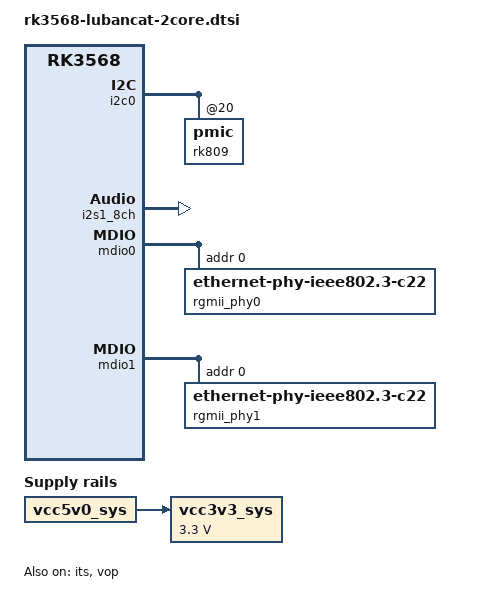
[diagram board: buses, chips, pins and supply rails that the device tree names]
// SPDX-License-Identifier: (GPL-2.0+ OR MIT)
 /dts-v1/;

#include <dt-bindings/gpio/gpio.h>
#include <dt-bindings/pwm/pwm.h>
#include <dt-bindings/pinctrl/rockchip.h>
#include <dt-bindings/input/rk-input.h>
#include <dt-bindings/display/drm_mipi_dsi.h>
#include <dt-bindings/display/rockchip_vop.h>
#include <dt-bindings/sensor-dev.h>
#include <dt-bindings/phy/jlsemi-dt-phy.h>
#include "rk3568.dtsi"
#include "rk3568-lubancat.dtsi"

/ {
	compatible = "rockchip,lubancat-2core", "rockchip,rk3568";

	vcc3v3_sys: vcc3v3-sys {
		compatible = "regulator-fixed";
		regulator-name = "vcc3v3_sys";
		regulator-always-on;
		regulator-boot-on;
		regulator-min-microvolt = <3300000>;
		regulator-max-microvolt = <3300000>;
		vin-supply = <&vcc5v0_sys>;
	};

	rk809_sound: rk809-sound {
		status = "okay";
		compatible = "simple-audio-card";
		simple-audio-card,format = "i2s";
		simple-audio-card,name = "rockchip,rk809-codec";
		simple-audio-card,mclk-fs = <256>;
		simple-audio-card,widgets =
						"Microphone", "Mic Jack",
						"Headphone", "Headphone Jack";
			simple-audio-card,routing =
						"Mic Jack", "MICBIAS1",
						"IN1P", "Mic Jack",
						"Headphone Jack", "HPOL",
						"Headphone Jack", "HPOR";
		simple-audio-card,cpu {
			sound-dai = <&i2s1_8ch>;
		};
		simple-audio-card,codec {
			sound-dai = <&rk809_codec>;
		};
	};
};

&i2c0 {
	status = "okay";
	rk809: pmic@20 {
		rk809_codec: codec {
			//mic-in-differential;
			capture-volume = <0>;
			status = "okay";
		};
	};
};

&i2s1_8ch {
	status = "okay";
	rockchip,clk-trcm = <1>;
	pinctrl-names = "default";
	pinctrl-0 = <&i2s1m0_sclktx
			 &i2s1m0_lrcktx
			 &i2s1m0_sdi0
			 &i2s1m0_sdo0>;
};

&its {
	status = "okay";
};

&pmu_io_domains {
	status = "okay";
	pmuio2-supply = <&vcc3v3_pmu>;
	vccio1-supply = <&vccio_acodec>;
	vccio3-supply = <&vccio_sd>;
	vccio4-supply = <&vcc_1v8>;
	vccio5-supply = <&vcc_3v3>;
	vccio6-supply = <&vcc_1v8>;
	vccio7-supply = <&vcc_3v3>;
};

&vad {
	rockchip,audio-src = <&i2s1_8ch>;
	rockchip,buffer-time-ms = <128>;
	rockchip,det-channel = <0>;
	rockchip,mode = <0>;
};

&vop {
	status = "okay";
	assigned-clocks = <&cru DCLK_VOP0>, <&cru DCLK_VOP1>;
	assigned-clock-parents = <&pmucru PLL_HPLL>, <&cru PLL_VPLL>;
};

&vop_mmu {
	status = "okay";
};

&vp0 {
	rockchip,plane-mask = <(1 << ROCKCHIP_VOP2_CLUSTER0 | 1 << ROCKCHIP_VOP2_ESMART0 | 1 << ROCKCHIP_VOP2_SMART0)>;
	rockchip,primary-plane = <ROCKCHIP_VOP2_SMART0>;
};

&vp1 {
	rockchip,plane-mask = <(1 << ROCKCHIP_VOP2_CLUSTER1 | 1 << ROCKCHIP_VOP2_ESMART1 | 1 << ROCKCHIP_VOP2_SMART1)>;
	rockchip,primary-plane = <ROCKCHIP_VOP2_SMART1>;
};

&sfc{
	pinctrl-names = "default";
	pinctrl-0 = <&fspi_pins>;
	assigned-clock-rates = <50000000>;
	status = "disabled";
};

&sdmmc0 {
	status = "disabled";
};

/* USB OTG/USB Host_1 USB 2.0 Comb */
&usb2phy0 {
	status = "disabled";
};

&u2phy0_host {
	status = "disabled";
};

&u2phy0_otg {
	status = "disabled";
};

&usb_host0_ehci {
	status = "disabled";
};

&usb_host0_ohci {
	status = "disabled";
};

/* USB Host_2/USB Host_3 USB 2.0 Comb */
&usb2phy1 {
	status = "disabled";
};

&u2phy1_otg {
	status = "disabled";
};

&u2phy1_host {
	status = "disabled";
};

&usb_host1_ehci {
	status = "disabled";
};

&usb_host1_ohci {
	status = "disabled";
};

/* MULTI_PHY0 For SATA0, USB3.0 OTG0 */
&combphy0_us {
	status = "disabled";
};

&usbdrd30 {
	status = "disabled";
};

/* MULTI_PHY0 For SATA0, USB3.0 OTG0 Only USB2.0 */
&usbdrd_dwc3 {
	phys = <&u2phy0_otg>;
	phy-names = "usb2-phy";
	extcon = <&usb2phy0>;
	maximum-speed = "high-speed";
	snps,dis_u2_susphy_quirk;
	snps,usb2-lpm-disable;
	status = "disabled";
};

&sata0 {
	status = "disabled";
};

/* MULTI_PHY1 For SATA1, USB3.0 HOST1, QSGMII_M0 */
&combphy1_usq {
	status = "disabled";
};

&usbhost30 {
	status = "disabled";
};

&usbhost_dwc3 {
	status = "disabled";
};

/* MULTI_PHY2 For SATA2, PCIe2.0, QSGMII_M1 */
&combphy2_psq {
	status = "disabled";
};

&sata2 {
	status = "disabled";
};

/* PCIe3.0x2 Comb */
&pcie30phy {
	status = "disabled";
};

&gmac0 {
	phy-mode = "rgmii";
	clock_in_out = "output";

	snps,reset-gpio = <&gpio1 RK_PA1 GPIO_ACTIVE_LOW>;
	snps,reset-active-low;
	/* Reset time is 20ms, 100ms for rtl8211f */
	snps,reset-delays-us = <0 75000 100000>;

	assigned-clocks = <&cru SCLK_GMAC0_RX_TX>, <&cru SCLK_GMAC0>;
	assigned-clock-parents = <&cru SCLK_GMAC0_RGMII_SPEED>, <&cru CLK_MAC0_2TOP>;
	assigned-clock-rates = <0>, <125000000>;

	pinctrl-names = "default";
	pinctrl-0 = <&gmac0_miim
			 &gmac0_tx_bus2
			 &gmac0_rx_bus2
			 &gmac0_rgmii_clk
			 &gmac0_rgmii_bus>;

	tx_delay = <0x1c>;
	rx_delay = <0x0d>;

	phy-handle = <&rgmii_phy0>;
	status = "disabled";
};

&mdio0 {
	rgmii_phy0: phy@0 {
		compatible = "ethernet-phy-ieee802.3-c22";
		reg = <0x0>;
		jl2xxx,led-enable = <(JL2XXX_LED_STATIC_OP_EN | JL1XXX_LED_MODE_EN)>;
		jl2xxx,led-mode = <(JL2XXX_LED1_LINK10  | \
				 JL2XXX_LED1_LINK100  | \
				 JL2XXX_LED1_LINK1000 | \
				 JL2XXX_LED2_LINK10   | \
				 JL2XXX_LED2_LINK100  | \
				 JL2XXX_LED2_LINK1000 | \
				 JL2XXX_LED2_ACTIVITY )>; //JL phy

		realtek,led-data = <0x6d60>;  //8211F phy
	};
};

&uart8 {
	status = "disabled";
};

&uart9 {
	status = "disabled"; //Default to use DTBO
	pinctrl-names = "default";
	pinctrl-0 = <&uart9m1_xfer>;
};

&sdmmc2 {
	status = "disabled";
};

&gmac1 {
	phy-mode = "rgmii";
	clock_in_out = "output";

	snps,reset-gpio = <&gpio0 RK_PC7 GPIO_ACTIVE_LOW>;
	snps,reset-active-low;
	/* Reset time is 20ms, 100ms for rtl8211f */
	snps,reset-delays-us = <0 75000 100000>;

	assigned-clocks = <&cru SCLK_GMAC1_RX_TX>, <&cru SCLK_GMAC1>;
	assigned-clock-parents = <&cru SCLK_GMAC1_RGMII_SPEED>, <&cru CLK_MAC1_2TOP>;
	assigned-clock-rates = <0>, <125000000>;

	pinctrl-names = "default";
	pinctrl-0 = <&gmac1m1_miim
			 &gmac1m1_tx_bus2
			 &gmac1m1_rx_bus2
			 &gmac1m1_rgmii_clk
			 &gmac1m1_rgmii_bus>;

	tx_delay = <0x20>;
	rx_delay = <0x02>;

	phy-handle = <&rgmii_phy1>;
	status = "disabled";
};

&mdio1 {
	rgmii_phy1: phy@0 {
		compatible = "ethernet-phy-ieee802.3-c22";
		reg = <0x0>;
		jl2xxx,led-enable = <(JL2XXX_LED_STATIC_OP_EN | JL1XXX_LED_MODE_EN)>;
		jl2xxx,led-mode = <(JL2XXX_LED1_LINK10  | \
				 JL2XXX_LED1_LINK100  | \
				 JL2XXX_LED1_LINK1000 | \
				 JL2XXX_LED2_LINK10   | \
				 JL2XXX_LED2_LINK100  | \
				 JL2XXX_LED2_LINK1000 | \
				 JL2XXX_LED2_ACTIVITY )>;  //JL phy

		realtek,led-data = <0x6d60>;  //8211F phy
	};
};

&i2c4 {
	status = "disabled";
};

&can1 {
	status = "disabled";
	compatible = "rockchip,rk3568-can-2.0";
	assigned-clocks = <&cru CLK_CAN1>;
	assigned-clock-rates = <200000000>;
	pinctrl-names = "default";
	pinctrl-0 = <&can1m1_pins>;
};

&can2 {
	status = "disabled";
	compatible = "rockchip,rk3568-can-2.0";
	pinctrl-names = "default";
	assigned-clocks = <&cru CLK_CAN2>;
	assigned-clock-rates = <200000000>;
	pinctrl-0 = <&can2m0_pins>;
};

&i2s3_2ch {
	status = "disabled";
};

&uart4 {
	status = "disabled";
	pinctrl-names = "default";
	pinctrl-0 = <&uart4m1_xfer>;
};

&i2c5 {
	status = "disabled";
};

&uart3 {
	status = "disabled";
	pinctrl-names = "default";
	pinctrl-0 = <&uart3m1_xfer>;
};

&uart7 {
	status = "disabled";
	pinctrl-names = "default";
	pinctrl-0 = <&uart7m1_xfer>;
};

&i2c3 {
	status = "disabled";
};
